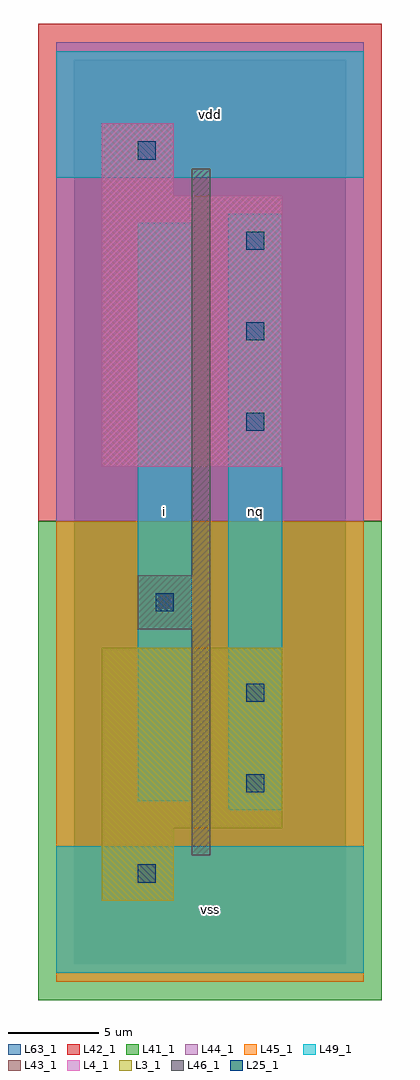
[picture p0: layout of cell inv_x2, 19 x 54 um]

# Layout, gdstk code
import gdstk
lib = gdstk.Library(unit=1e-6, precision=1e-09)
def R(c, l, rs):  # rectangles x0, y0, x1, y1
    for r in rs: c.add(gdstk.rectangle(r[:2], r[2:], *l))
def A(c, l, x, y, w, h, nx, ny, dx, dy):  # array of equal rectangles
    R(c, l, [(x+i*dx, y+j*dy, x+i*dx+w, y+j*dy+h) for i in range(nx) for j in range(ny)])
L3_1 = (3, 1)
L4_1 = (4, 1)
L25_1 = (25, 1)
L41_1 = (41, 1)
L42_1 = (42, 1)
L43_1 = (43, 1)
L44_1 = (44, 1)
L45_1 = (45, 1)
L46_1 = (46, 1)
L49_1 = (49, 1)
L63_1 = (63, 1)

inv_x2 = lib.new_cell('inv_x2')
R(inv_x2, L3_1, [(1.5,3.5,5.5,7.5), (1.5,7.5,11.5,17.5)])
R(inv_x2, L4_1, [(1.5,27.5,11.5,42.5), (1.5,42.5,5.5,46.5)])
A(inv_x2, L25_1, 9.5, 29.5, 1, 1, 1, 3, 0, 5)
R(inv_x2, L25_1, [(3.5,4.5,4.5,5.5), (9.5,9.5,10.5,10.5), (9.5,14.5,10.5,15.5), (4.5,19.5,5.5,20.5), (3.5,44.5,4.5,45.5)])
R(inv_x2, L41_1, [(-2,-2,17,24.5)])
R(inv_x2, L42_1, [(-2,24.5,17,52)])
R(inv_x2, L43_1, [(1.5,3.5,5.5,7.5), (1.5,7.5,11.5,17.5), (1.5,27.5,11.5,42.5), (1.5,42.5,5.5,46.5)])
R(inv_x2, L44_1, [(-1,24.5,16,51)])
R(inv_x2, L45_1, [(-1,-1,16,24.5)])
R(inv_x2, L46_1, [(6.5,6,7.5,18.5), (3.5,18.5,7.5,21.5), (6.5,21.5,7.5,44)])
R(inv_x2, L49_1, [(-1,-0.5,16,6.5), (8.5,8.5,11.5,41.5), (3.5,9,6.5,41), (-1,43.5,16,50.5)])
R(inv_x2, L63_1, [(0,0,15,50)])
inv_x2.add(gdstk.Label('vss', (7.5,3), layer=49, texttype=1))
inv_x2.add(gdstk.Label('vss', (7.5,3), layer=49, texttype=1))
inv_x2.add(gdstk.Label('i', (5,25), layer=49, texttype=1))
inv_x2.add(gdstk.Label('i', (5,25), layer=49, texttype=1))
inv_x2.add(gdstk.Label('vdd', (7.5,47), layer=49, texttype=1))
inv_x2.add(gdstk.Label('vdd', (7.5,47), layer=49, texttype=1))
inv_x2.add(gdstk.Label('nq', (10,25), layer=49, texttype=1))
inv_x2.add(gdstk.Label('nq', (10,25), layer=49, texttype=1))

lib.write_gds('inv_x2.gds')
